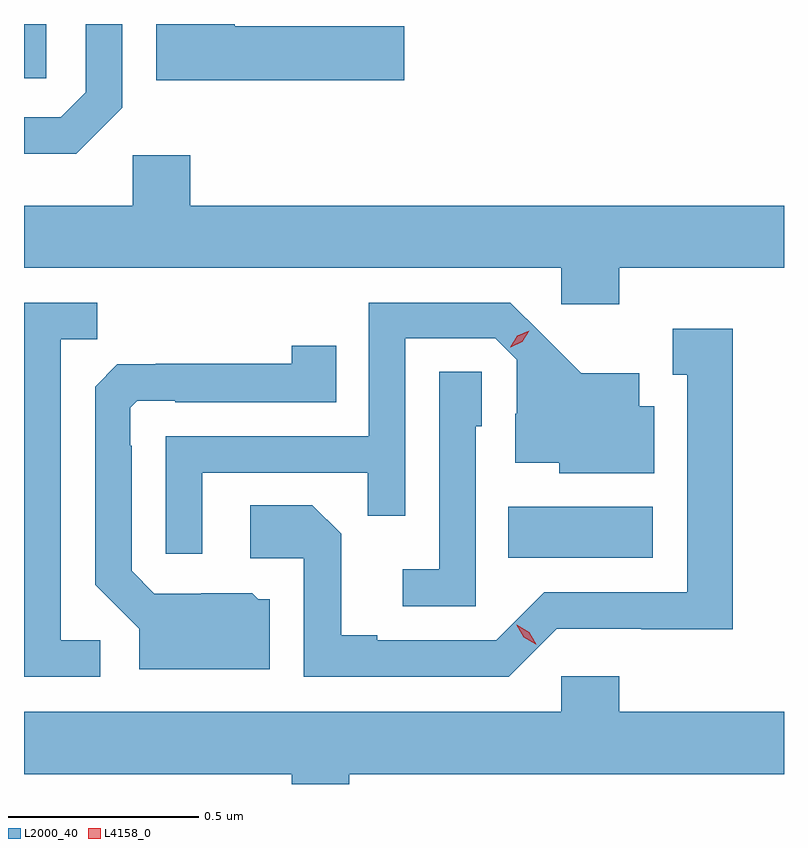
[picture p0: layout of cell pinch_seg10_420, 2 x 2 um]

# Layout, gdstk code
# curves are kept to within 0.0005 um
import gdstk
lib = gdstk.Library(unit=1e-6, precision=1e-09)
def R(c, l, rs):  # rectangles x0, y0, x1, y1
    for r in rs: c.add(gdstk.rectangle(r[:2], r[2:], *l))
def P(c, l, *ps):  # polygons
    for p in ps: c.add(gdstk.Polygon(p, *l))
L2000_40 = (2000, 40)
L4158_0 = (4158, 0)

pinch_seg10_420 = lib.new_cell('pinch_seg10_420')
R(pinch_seg10_420, L2000_40, [(603.568,1262.258,603.949,1262.392), (602.294,1263.519,602.352,1263.662)])
P(pinch_seg10_420, L2000_40, [(602.553,1263.441),(602.553,1263.662),(602.457,1263.662),(602.457,1263.483),(602.391,1263.417),(602.294,1263.417),(602.294,1263.32),(602.432,1263.32)],
  [(603.295,1263.656),(602.849,1263.656),(602.849,1263.662),(602.642,1263.662),(602.642,1263.514),(603.295,1263.514)],
  [(603.86,1263.02),(604.294,1263.02),(604.294,1263.184),(602.732,1263.184),(602.732,1263.316),(602.58,1263.316),(602.58,1263.184),(602.294,1263.184),(602.294,1263.02),(603.708,1263.02),(603.708,1262.925),(603.86,1262.925)],
  [(602.763,1262.481),(603.199,1262.481),(603.199,1262.368),(603.297,1262.368),(603.297,1262.835),(603.534,1262.835),(603.591,1262.778),(603.591,1262.636),(603.587,1262.636),(603.587,1262.507),(603.702,1262.507),(603.702,1262.48),(603.952,1262.48),(603.952,1262.656),(603.913,1262.656),(603.913,1262.743),(603.761,1262.743),(603.574,1262.928),(603.201,1262.928),(603.201,1262.577),(602.667,1262.577),(602.667,1262.268),(602.763,1262.268)],
  [(602.494,1262.04),(602.391,1262.04),(602.391,1262.833),(602.487,1262.833),(602.487,1262.928),(602.295,1262.928),(602.295,1261.944),(602.494,1261.944)],
  [(603.696,1262.07),(603.918,1262.07),(603.918,1262.069),(604.159,1262.069),(604.159,1262.86),(604.001,1262.86),(604.001,1262.739),(604.04,1262.739),(604.04,1262.166),(603.663,1262.166),(603.537,1262.04),(603.223,1262.04),(603.223,1262.053),(603.129,1262.053),(603.129,1262.32),(603.053,1262.396),(602.889,1262.396),(602.889,1262.256),(603.03,1262.256),(603.03,1261.944),(603.57,1261.944)],
  [(602.941,1262.148),(602.91,1262.148),(602.894,1262.164),(602.76,1262.164),(602.76,1262.163),(602.637,1262.163),(602.577,1262.223),(602.577,1262.552),(602.574,1262.552),(602.574,1262.652),(602.592,1262.67),(602.692,1262.67),(602.692,1262.667),(603.116,1262.667),(603.116,1262.815),(602.998,1262.815),(602.998,1262.768),(602.641,1262.768),(602.641,1262.767),(602.54,1262.767),(602.481,1262.708),(602.481,1262.186),(602.597,1262.07),(602.597,1261.964),(602.941,1261.964)],
  [(603.483,1262.604),(603.498,1262.604),(603.498,1262.747),(603.387,1262.747),(603.387,1262.227),(603.291,1262.227),(603.291,1262.13),(603.483,1262.13)],
  [(603.15,1261.688),(604.294,1261.688),(604.294,1261.852),(603.86,1261.852),(603.86,1261.945),(603.708,1261.945),(603.708,1261.852),(602.294,1261.852),(602.294,1261.688),(602.999,1261.688),(602.999,1261.662),(603.15,1261.662)])
P(pinch_seg10_420, L4158_0, [(603.641,1262.03),(603.609,1262.048),(603.591,1262.08),(603.591,1262.081),(603.591,1262.081),(603.623,1262.062),(603.642,1262.03),(603.642,1262.03)],
  [(603.574,1262.811),(603.574,1262.811),(603.592,1262.841),(603.623,1262.855),(603.623,1262.855),(603.623,1262.855),(603.605,1262.826),(603.575,1262.811)])

lib.write_gds('pinch_seg10_420.gds')
